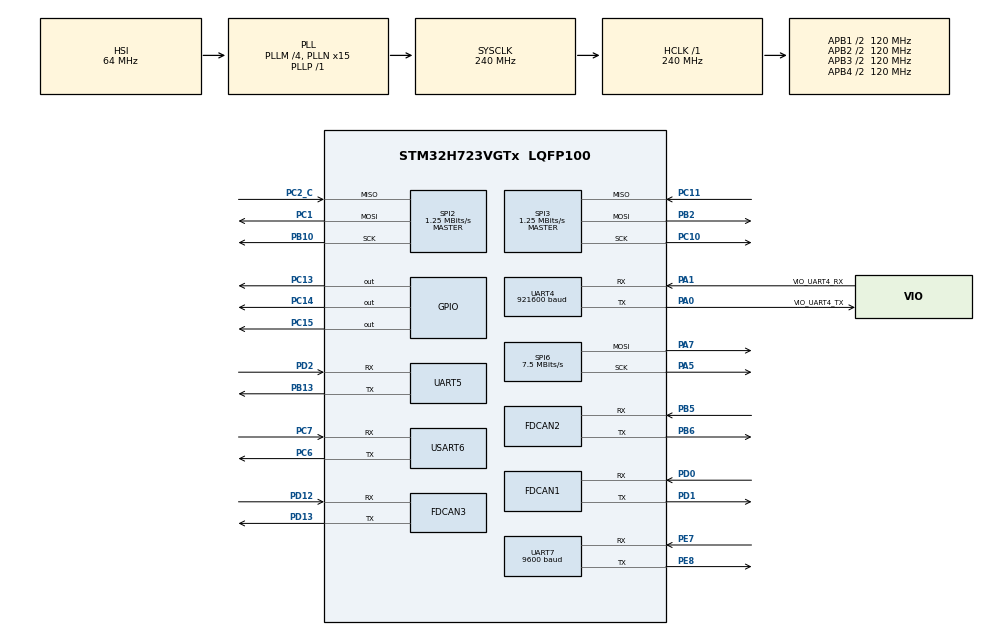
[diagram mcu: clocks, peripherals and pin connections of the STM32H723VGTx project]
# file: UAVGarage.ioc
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CORTEX_M7.default_mode_Activation=1
Dma.Request0=USART6_RX
Dma.Request1=UART4_RX
Dma.UART4_RX.1.Direction=DMA_PERIPH_TO_MEMORY
Dma.UART4_RX.1.EventEnable=DISABLE
Dma.UART4_RX.1.FIFOMode=DMA_FIFOMODE_DISABLE
Dma.UART4_RX.1.Instance=DMA1_Stream1
Dma.UART4_RX.1.MemDataAlignment=DMA_MDATAALIGN_BYTE
Dma.UART4_RX.1.MemInc=DMA_MINC_ENABLE
Dma.UART4_RX.1.Mode=DMA_CIRCULAR
Dma.UART4_RX.1.PeriphDataAlignment=DMA_PDATAALIGN_BYTE
Dma.UART4_RX.1.PeriphInc=DMA_PINC_DISABLE
Dma.UART4_RX.1.Polarity=HAL_DMAMUX_REQ_GEN_RISING
Dma.UART4_RX.1.Priority=DMA_PRIORITY_LOW
Dma.UART4_RX.1.RequestNumber=1
Dma.UART4_RX.1.SignalID=NONE
Dma.UART4_RX.1.SyncEnable=DISABLE
Dma.UART4_RX.1.SyncPolarity=HAL_DMAMUX_SYNC_NO_EVENT
Dma.UART4_RX.1.SyncRequestNumber=1
Dma.UART4_RX.1.SyncSignalID=NONE
Dma.USART6_RX.0.Direction=DMA_PERIPH_TO_MEMORY
Dma.USART6_RX.0.EventEnable=DISABLE
Dma.USART6_RX.0.FIFOMode=DMA_FIFOMODE_DISABLE
Dma.USART6_RX.0.Instance=DMA1_Stream0
Dma.USART6_RX.0.MemDataAlignment=DMA_MDATAALIGN_BYTE
Dma.USART6_RX.0.MemInc=DMA_MINC_ENABLE
Dma.USART6_RX.0.Mode=DMA_CIRCULAR
Dma.USART6_RX.0.PeriphDataAlignment=DMA_PDATAALIGN_BYTE
Dma.USART6_RX.0.PeriphInc=DMA_PINC_DISABLE
Dma.USART6_RX.0.Polarity=HAL_DMAMUX_REQ_GEN_RISING
Dma.USART6_RX.0.Priority=DMA_PRIORITY_LOW
Dma.USART6_RX.0.RequestNumber=1
Dma.USART6_RX.0.SignalID=NONE
Dma.USART6_RX.0.SyncEnable=DISABLE
Dma.USART6_RX.0.SyncPolarity=HAL_DMAMUX_SYNC_NO_EVENT
Dma.USART6_RX.0.SyncRequestNumber=1
Dma.USART6_RX.0.SyncSignalID=NONE
FDCAN1.CalculateBaudRateNominal=1000000
FDCAN1.CalculateTimeBitNominal=1000
FDCAN1.CalculateTimeQuantumNominal=62.5
FDCAN1.NominalPrescaler=5
FDCAN1.NominalTimeSeg1=13
FDCAN1.NominalTimeSeg2=2
FDCAN2.CalculateBaudRateNominal=1000000
FDCAN2.CalculateTimeBitNominal=1000
FDCAN2.CalculateTimeQuantumNominal=62.5
FDCAN2.NominalPrescaler=5
FDCAN2.NominalTimeSeg1=13
FDCAN2.NominalTimeSeg2=2
FDCAN3.CalculateBaudRateNominal=1666666
FDCAN3.CalculateTimeBitNominal=600
FDCAN3.CalculateTimeQuantumNominal=200.0
FREERTOS.Tasks01=defaultTask,24,128,StartDefaultTask,Default,NULL,Dynamic,NULL,NULL;BattRotate,40,128,StartBattRotate,Default,NULL,Dynamic,NULL,NULL;BattPush,40,128,StartBattPush,Default,NULL,Dynamic,NULL,NULL;rcProtocolTask,24,256,StartrcProtocolTask,Default,NULL,Dynamic,NULL,NULL;DUVTransmit,8,128,StartDUVTransmit,Default,NULL,Dynamic,NULL,NULL
Mcu.Family=STM32H7
Mcu.Name=STM32H723VGTx
Mcu.Package=LQFP100
NVIC.DMA1_Stream0_IRQn=true\:5\:0\:false\:false\:true\:true\:false\:true\:true
NVIC.DMA1_Stream1_IRQn=true\:5\:0\:false\:false\:true\:true\:false\:true\:true
NVIC.FDCAN1_IT0_IRQn=true\:5\:0\:false\:false\:true\:true\:true\:true\:true
NVIC.FDCAN2_IT0_IRQn=true\:5\:0\:false\:false\:true\:true\:true\:true\:true
NVIC.FDCAN3_IT0_IRQn=true\:5\:0\:false\:false\:true\:true\:true\:true\:true
NVIC.PriorityGroup=NVIC_PRIORITYGROUP_4
NVIC.TIM17_IRQn=true\:15\:0\:false\:false\:true\:false\:false\:true\:true
NVIC.TimeBase=TIM17_IRQn
NVIC.TimeBaseIP=TIM17
NVIC.UART4_IRQn=true\:5\:0\:false\:false\:true\:true\:true\:true\:true
NVIC.UART5_IRQn=true\:5\:0\:false\:false\:true\:true\:true\:true\:true
NVIC.UART7_IRQn=true\:5\:0\:false\:false\:true\:true\:true\:true\:true
NVIC.USART6_IRQn=true\:5\:0\:false\:false\:true\:true\:true\:true\:true
PA0.GPIO_Label=VIO_UART4_TX
PA0.GPIO_PuPd=GPIO_NOPULL
PA0.Mode=Asynchronous
PA0.Signal=UART4_TX
PA1.GPIO_Label=VIO_UART4_RX
PA1.Mode=Asynchronous
PA1.Signal=UART4_RX
PA13(JTMS/SWDIO).Mode=Serial_Wire
PA13(JTMS/SWDIO).Signal=DEBUG_JTMS-SWDIO
PA14(JTCK/SWCLK).Mode=Serial_Wire
PA14(JTCK/SWCLK).Signal=DEBUG_JTCK-SWCLK
PA5.Mode=TX_Only_Simplex_Unidirect_Master
PA5.Signal=SPI6_SCK
PA7.Mode=TX_Only_Simplex_Unidirect_Master
PA7.Signal=SPI6_MOSI
PB10.Mode=Full_Duplex_Master
PB10.Signal=SPI2_SCK
PB13.Mode=Asynchronous
PB13.Signal=UART5_TX
PB2.Mode=Full_Duplex_Master
PB2.Signal=SPI3_MOSI
PB5.Mode=FDCAN_Activate
PB5.Signal=FDCAN2_RX
PB6.Mode=FDCAN_Activate
PB6.Signal=FDCAN2_TX
PC1.Mode=Full_Duplex_Master
PC1.Signal=SPI2_MOSI
PC10.Mode=Full_Duplex_Master
PC10.Signal=SPI3_SCK
PC11.Mode=Full_Duplex_Master
PC11.Signal=SPI3_MISO
PC13.GPIO_PuPd=GPIO_PULLUP
PC13.PinState=GPIO_PIN_SET
PC13.Signal=GPIO_Output
PC14-OSC32_IN.GPIO_PuPd=GPIO_PULLUP
PC14-OSC32_IN.PinState=GPIO_PIN_SET
PC14-OSC32_IN.Signal=GPIO_Output
PC15-OSC32_OUT.GPIO_PuPd=GPIO_PULLUP
PC15-OSC32_OUT.PinState=GPIO_PIN_SET
PC15-OSC32_OUT.Signal=GPIO_Output
PC2_C.Mode=Full_Duplex_Master
PC2_C.Signal=SPI2_MISO
PC6.Mode=Asynchronous
PC6.Signal=USART6_TX
PC7.Mode=Asynchronous
PC7.Signal=USART6_RX
PD0.Mode=FDCAN_Activate
PD0.Signal=FDCAN1_RX
PD1.Mode=FDCAN_Activate
PD1.Signal=FDCAN1_TX
PD12.Mode=FDCAN_Activate
PD12.Signal=FDCAN3_RX
PD13.Mode=FDCAN_Activate
PD13.Signal=FDCAN3_TX
PD2.Mode=Asynchronous
PD2.Signal=UART5_RX
PE7.GPIO_PuPd=GPIO_NOPULL
PE7.Mode=Asynchronous
PE7.Signal=UART7_RX
PE8.GPIO_PuPd=GPIO_NOPULL
PE8.Mode=Asynchronous
PE8.Signal=UART7_TX
PH0-OSC_IN.Mode=HSE-External-Oscillator
PH0-OSC_IN.Signal=RCC_OSC_IN
PH1-OSC_OUT.Mode=HSE-External-Oscillator
PH1-OSC_OUT.Signal=RCC_OSC_OUT
ProjectManager.HeapSize=0x200
ProjectManager.StackSize=0x400
ProjectManager.TargetToolchain=MDK-ARM V5.32
RCC.ADCFreq_Value=129000000
RCC.APB1Freq_Value=120000000
RCC.APB2Freq_Value=120000000
RCC.APB3Freq_Value=120000000
RCC.APB4Freq_Value=120000000
RCC.CortexFreq_Value=240000000
RCC.D1PPRE=RCC_APB3_DIV2
RCC.D2PPRE1=RCC_APB1_DIV2
RCC.D2PPRE2=RCC_APB2_DIV2
RCC.D3PPRE=RCC_APB4_DIV2
RCC.DIVM1=4
RCC.DIVN1=15
RCC.DIVP1=1
RCC.DIVQ1=3
RCC.HCLKFreq_Value=240000000
RCC.HSE_VALUE=25000000
RCC.PLL2FRACN=0
RCC.PLL3FRACN=0
RCC.PLLFRACN=0
RCC.SYSCLKFreq_VALUE=240000000
RCC.SYSCLKSource=RCC_SYSCLKSOURCE_PLLCLK
RCC.USBFreq_Value=80000000
SPI2.BaudRatePrescaler=SPI_BAUDRATEPRESCALER_64
SPI2.CLKPhase=SPI_PHASE_2EDGE
SPI2.CLKPolarity=SPI_POLARITY_HIGH
SPI2.CalculateBaudRate=1.25 MBits/s
SPI2.DataSize=SPI_DATASIZE_8BIT
SPI2.Direction=SPI_DIRECTION_2LINES
SPI2.Mode=SPI_MODE_MASTER
SPI2.VirtualType=VM_MASTER
SPI3.BaudRatePrescaler=SPI_BAUDRATEPRESCALER_64
SPI3.CLKPhase=SPI_PHASE_2EDGE
SPI3.CLKPolarity=SPI_POLARITY_HIGH
SPI3.CalculateBaudRate=1.25 MBits/s
SPI3.DataSize=SPI_DATASIZE_8BIT
SPI3.Direction=SPI_DIRECTION_2LINES
SPI3.Mode=SPI_MODE_MASTER
SPI3.VirtualType=VM_MASTER
SPI6.BaudRatePrescaler=SPI_BAUDRATEPRESCALER_16
SPI6.CalculateBaudRate=7.5 MBits/s
SPI6.DataSize=SPI_DATASIZE_8BIT
SPI6.Direction=SPI_DIRECTION_2LINES_TXONLY
SPI6.Mode=SPI_MODE_MASTER
SPI6.VirtualType=VM_MASTER
UART4.BaudRate=921600
UART7.BaudRate=9600
USART6.VirtualMode=VM_ASYNC
VP_FREERTOS_VS_CMSIS_V2.Mode=CMSIS_V2
VP_MEMORYMAP_VS_MEMORYMAP.Mode=CurAppReg
VP_SYS_VS_tim17.Mode=TIM17
VP_TIM2_VS_ClockSourceINT.Mode=Internal
VP_TIM3_VS_ClockSourceINT.Mode=Internal
board=custom

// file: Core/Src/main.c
/* USER CODE BEGIN Header */
/**
  ******************************************************************************
  * @file           : main.c
  * @brief          : Main program body
  ******************************************************************************
  * @attention
  *
  * Copyright (c) 2026 STMicroelectronics.
  * All rights reserved.
  *
  * This software is licensed under terms that can be found in the LICENSE file
  * in the root directory of this software component.
  * If no LICENSE file comes with this software, it is provided AS-IS.
  *
  ******************************************************************************
  */
/* USER CODE END Header */
#include "main.h"
#include "FreeRTOS.h"
#include "cmsis_os2.h"
#include "dma.h"
#include "fdcan.h"
#include "spi.h"
#include "tim.h"
#include "usart.h"
#include "gpio.h"

/* USER CODE BEGIN Includes */
#include "tjc_usart_hmi.h"
#define FRAME_LENGTH 7

#define LED_NUM      1                   // 灯的数量
#define WS_ONE       0xFC                // WS2812 的 1 码（8MHz SPI）
#define WS_ZERO      0x40                // WS2812 的 0 码

/* USER CODE END Includes */

/* USER CODE BEGIN PD */

/**
 * @brief �� TJC ����������ָ��
 * @param huart ���ھ�� (�� &huart5)
 * @param cmd ָ���ַ��� (�� "bauds=9600")
 */

/* USER CODE END PD */

/* USER CODE BEGIN PV */
uint8_t led_buf[LED_NUM * 24];       // 发送缓冲区
extern SPI_HandleTypeDef hspi6;      // CubeMX 生成的 SPI6 句
volatile uint8_t ledcontrol = 0;    // ← 必须有！这是变量的"本体"柄

/* USER CODE END PV */

void SystemClock_Config(void);
static void MPU_Config(void);
void MX_FREERTOS_Init(void);
/* USER CODE BEGIN PFP */
void LED_SetColor(uint8_t r, uint8_t g, uint8_t b);
/* USER CODE END PFP */

/* USER CODE BEGIN 0 */
uint8_t ch;
/* USER CODE END 0 */

int main(void)
{

  /* MPU Configuration--------------------------------------------------------*/
  MPU_Config();

  /* MCU Configuration--------------------------------------------------------*/

  /* Reset of all peripherals, Initializes the Flash interface and the Systick. */
  HAL_Init();

  /* USER CODE BEGIN Init */
		// 在 main 函数初始化部分加入
HAL_GPIO_WritePin(GPIOC, GPIO_PIN_13 , GPIO_PIN_SET); // 打开可控电源输出
// 在 main 函数初始化部分加入
HAL_GPIO_WritePin(GPIOC,GPIO_PIN_14, GPIO_PIN_SET); // 打开可控电源输出
//TJC_SetBrightness(80);
HAL_GPIO_WritePin(GPIOC,GPIO_PIN_15, GPIO_PIN_SET); // 打开可控电源输出
  /* USER CODE END Init */

  /* Configure the system clock */
  SystemClock_Config();

  /* Initialize all configured peripherals */
  MX_GPIO_Init();
  MX_DMA_Init();
  MX_SPI2_Init();
  MX_SPI3_Init();
  MX_TIM2_Init();
  MX_TIM3_Init();
  MX_UART4_Init();
  MX_USART6_UART_Init();
  MX_FDCAN1_Init();
  MX_FDCAN2_Init();
  MX_FDCAN3_Init();
  MX_UART7_Init();
  MX_UART5_Init();
  MX_SPI6_Init();
  /* USER CODE BEGIN 2 */
	initRingBuffer();
	HAL_UART_Receive_IT(&TJC_UART,(uint8_t *)RxBuffer,1);
	int a=100;
	char str[100];
	uint32_t nowtime=HAL_GetTick();
	LED_SetColor(255, 0, 0);   // 红灯亮
HAL_Delay(1000);
LED_SetColor(0, 0, 0);     // 熄灭

  /* USER CODE END 2 */

  /* Init scheduler */
  osKernelInitialize();  /* Call init function for freertos objects (in cmsis_os2.c) */
  MX_FREERTOS_Init();

  /* Start scheduler */
  osKernelStart();

  /* We should never get here as control is now taken by the scheduler */

  /* Infinite loop */
  /* USER CODE BEGIN WHILE */
  while (1)
  {
		LED_SetColor(0, 0, 0);   // 红灯亮

//		if(ledcontrol==0x31)
//		{
//				LED_SetColor(0, 0, 0);   // 红灯亮
//		}
//		else if(ledcontrol==0x30)
//		{
//				LED_SetColor(0, 0, 0);   // 灯灭
//		}
//		else if(ledcontrol==0){
//							LED_SetColor(0, 0, 0);

//		}
//		else{
//						LED_SetColor(0, 0, 0);
//		}
//				LED_SetColor(0, 0, 0);   // 红灯亮

    /* USER CODE END WHILE */

}
}

void SystemClock_Config(void)
{
  RCC_OscInitTypeDef RCC_OscInitStruct = {0};
  RCC_ClkInitTypeDef RCC_ClkInitStruct = {0};

  /** Supply configuration update enable
  */
  HAL_PWREx_ConfigSupply(PWR_LDO_SUPPLY);

  /** Configure the main internal regulator output voltage
  */
  __HAL_PWR_VOLTAGESCALING_CONFIG(PWR_REGULATOR_VOLTAGE_SCALE0);

  while(!__HAL_PWR_GET_FLAG(PWR_FLAG_VOSRDY)) {}

  /** Initializes the RCC Oscillators according to the specified parameters
  * in the RCC_OscInitTypeDef structure.
  */
  RCC_OscInitStruct.OscillatorType = RCC_OSCILLATORTYPE_HSI;
  RCC_OscInitStruct.HSIState = RCC_HSI_DIV1;
  RCC_OscInitStruct.HSICalibrationValue = 64;
  RCC_OscInitStruct.PLL.PLLState = RCC_PLL_ON;
  RCC_OscInitStruct.PLL.PLLSource = RCC_PLLSOURCE_HSI;
  RCC_OscInitStruct.PLL.PLLM = 4;
  RCC_OscInitStruct.PLL.PLLN = 15;
  RCC_OscInitStruct.PLL.PLLP = 1;
  RCC_OscInitStruct.PLL.PLLQ = 3;
  RCC_OscInitStruct.PLL.PLLR = 2;
  RCC_OscInitStruct.PLL.PLLRGE = RCC_PLL1VCIRANGE_3;
  RCC_OscInitStruct.PLL.PLLVCOSEL = RCC_PLL1VCOWIDE;
  RCC_OscInitStruct.PLL.PLLFRACN = 0;
  if (HAL_RCC_OscConfig(&RCC_OscInitStruct) != HAL_OK)
  {
    Error_Handler();
  }

  /** Initializes the CPU, AHB and APB buses clocks
  */
  RCC_ClkInitStruct.ClockType = RCC_CLOCKTYPE_HCLK|RCC_CLOCKTYPE_SYSCLK
                              |RCC_CLOCKTYPE_PCLK1|RCC_CLOCKTYPE_PCLK2
                              |RCC_CLOCKTYPE_D3PCLK1|RCC_CLOCKTYPE_D1PCLK1;
  RCC_ClkInitStruct.SYSCLKSource = RCC_SYSCLKSOURCE_PLLCLK;
  RCC_ClkInitStruct.SYSCLKDivider = RCC_SYSCLK_DIV1;
  RCC_ClkInitStruct.AHBCLKDivider = RCC_HCLK_DIV1;
  RCC_ClkInitStruct.APB3CLKDivider = RCC_APB3_DIV2;
  RCC_ClkInitStruct.APB1CLKDivider = RCC_APB1_DIV2;
  RCC_ClkInitStruct.APB2CLKDivider = RCC_APB2_DIV2;
  RCC_ClkInitStruct.APB4CLKDivider = RCC_APB4_DIV2;

  if (HAL_RCC_ClockConfig(&RCC_ClkInitStruct, FLASH_LATENCY_3) != HAL_OK)
  {
    Error_Handler();
  }
}

/* USER CODE BEGIN 4 */
/* 设置灯的颜色，RGB 三个分量 0~255 */
void LED_SetColor(uint8_t r, uint8_t g, uint8_t b)
{
    uint32_t grb = ((uint32_t)g << 16) | ((uint32_t)r << 8) | b;
    for (int i = 0; i < 24; i++)
    {
        led_buf[i] = (grb & (1UL << (23 - i))) ? WS_ONE : WS_ZERO;
    }
    HAL_SPI_Transmit(&hspi6, led_buf, 24, HAL_MAX_DELAY);
}

/* USER CODE END 4 */

 /* MPU Configuration */

void MPU_Config(void)
{
  MPU_Region_InitTypeDef MPU_InitStruct = {0};

  /* Disables the MPU */
  HAL_MPU_Disable();

  /** Initializes and configures the Region and the memory to be protected
  */
  MPU_InitStruct.Enable = MPU_REGION_ENABLE;
  MPU_InitStruct.Number = MPU_REGION_NUMBER0;
  MPU_InitStruct.BaseAddress = 0x0;
  MPU_InitStruct.Size = MPU_REGION_SIZE_4GB;
  MPU_InitStruct.SubRegionDisable = 0x87;
  MPU_InitStruct.TypeExtField = MPU_TEX_LEVEL0;
  MPU_InitStruct.AccessPermission = MPU_REGION_NO_ACCESS;
  MPU_InitStruct.DisableExec = MPU_INSTRUCTION_ACCESS_DISABLE;
  MPU_InitStruct.IsShareable = MPU_ACCESS_SHAREABLE;
  MPU_InitStruct.IsCacheable = MPU_ACCESS_NOT_CACHEABLE;
  MPU_InitStruct.IsBufferable = MPU_ACCESS_NOT_BUFFERABLE;

  HAL_MPU_ConfigRegion(&MPU_InitStruct);
  /* Enables the MPU */
  HAL_MPU_Enable(MPU_PRIVILEGED_DEFAULT);

}

void HAL_TIM_PeriodElapsedCallback(TIM_HandleTypeDef *htim)
{
  if (htim->Instance == TIM17)
  {
    HAL_IncTick();
  }
}

void Error_Handler(void)
{
  __disable_irq();
  while (1)
  {
  }
}

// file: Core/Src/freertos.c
/* USER CODE BEGIN Header */
/**
  ******************************************************************************
  * File Name          : freertos.c
  * Description        : Code for freertos applications
  ******************************************************************************
  * @attention
  *
  * Copyright (c) 2026 STMicroelectronics.
  * All rights reserved.
  *
  * This software is licensed under terms that can be found in the LICENSE file
  * in the root directory of this software component.
  * If no LICENSE file comes with this software, it is provided AS-IS.
  *
  ******************************************************************************
  */
/* USER CODE END Header */

#include "FreeRTOS.h"
#include "task.h"
#include "main.h"
#include "FreeRTOS.h"
#include "cmsis_os2.h"

/* USER CODE BEGIN Includes */
#include "App.h"
#include "Application/Tasks/RemoteControl.h"
extern volatile uint8_t ledcontrol;

/* Definitions for defaultTask */
osThreadId_t defaultTaskHandle;
const osThreadAttr_t defaultTask_attributes = {
  .name = "defaultTask",
  .stack_size = 128 * 4,
  .priority = (osPriority_t) osPriorityNormal,
};
/* Definitions for BattRotate */
osThreadId_t BattRotateHandle;
const osThreadAttr_t BattRotate_attributes = {
  .name = "BattRotate",
  .stack_size = 128 * 4,
  .priority = (osPriority_t) osPriorityHigh,
};
/* Definitions for BattPush */
osThreadId_t BattPushHandle;
const osThreadAttr_t BattPush_attributes = {
  .name = "BattPush",
  .stack_size = 128 * 4,
  .priority = (osPriority_t) osPriorityHigh,
};
/* Definitions for rcProtocolTask */
osThreadId_t rcProtocolTaskHandle;
const osThreadAttr_t rcProtocolTask_attributes = {
  .name = "rcProtocolTask",
  .stack_size = 256 * 4,
  .priority = (osPriority_t) osPriorityNormal,
};
/* Definitions for DUVTransmit */
osThreadId_t DUVTransmitHandle;
const osThreadAttr_t DUVTransmit_attributes = {
  .name = "DUVTransmit",
  .stack_size = 128 * 4,
  .priority = (osPriority_t) osPriorityLow,
};

void StartDefaultTask(void *argument);
void StartBattRotate(void *argument);
void StartBattPush(void *argument);
void StartrcProtocolTask(void *argument);
void StartDUVTransmit(void *argument);

void MX_FREERTOS_Init(void); /* (MISRA C 2004 rule 8.1) */

void MX_FREERTOS_Init(void) {
  /* USER CODE BEGIN Init */
  if (!App_Init())
  {
    Error_Handler();
  }
  /* USER CODE END Init */

  /* Create the thread(s) */
  /* creation of defaultTask */
  defaultTaskHandle = osThreadNew(StartDefaultTask, NULL, &defaultTask_attributes);

  /* creation of BattRotate */
  BattRotateHandle = osThreadNew(StartBattRotate, NULL, &BattRotate_attributes);

  /* creation of BattPush */
  BattPushHandle = osThreadNew(StartBattPush, NULL, &BattPush_attributes);

  /* creation of rcProtocolTask */
  rcProtocolTaskHandle = osThreadNew(StartrcProtocolTask, NULL, &rcProtocolTask_attributes);

  /* creation of DUVTransmit */
  DUVTransmitHandle = osThreadNew(StartDUVTransmit, NULL, &DUVTransmit_attributes);

}

void StartDefaultTask(void *argument)
{
  /* USER CODE BEGIN StartDefaultTask */
for(;;)
    {
        if (ledcontrol == 0x31)
            LED_SetColor(255, 0, 0);   // 红灯
        else if (ledcontrol == 0x30)
            LED_SetColor(0, 0, 0);     // 灭灯

        osDelay(10);
    }    /* USER CODE END StartDefaultTask */
}

/* USER CODE BEGIN Header_StartBattRotate */
/* StartBattRotate 任务函数体定义在 Application/App.cpp 中，此处仅保留 extern 声明 */
/* USER CODE END Header_StartBattRotate */
void StartBattRotate(void *argument);
  /* USER CODE BEGIN StartBattRotate */
////  /* Infinite loop */
////  for(;;)
////  {
////    osDelay(1);
////  }
  /* USER CODE END StartBattRotate */

/* USER CODE BEGIN Header_StartBattPush */
/* StartBattPush 任务函数体定义在 Application/App.cpp 中，此处仅保留 extern 声明 */
/* USER CODE END Header_StartBattPush */
void StartBattPush(void *argument);
  /* USER CODE BEGIN StartBattPush */
////  /* Infinite loop */
////  for(;;)
////  {
////    osDelay(1);
////  }
  /* USER CODE END StartBattPush */

void StartrcProtocolTask(void *argument)
{
  /* USER CODE BEGIN StartrcProtocolTask */
  RemoteControl_Init();
  /* Infinite loop */
  for(;;)
  {
    RemoteControl_Update();
    osDelay(1);
  }
  /* USER CODE END StartrcProtocolTask */
}

void StartDUVTransmit(void *argument)
{
  for(;;)
  {
    osDelay(1);
  }
}
